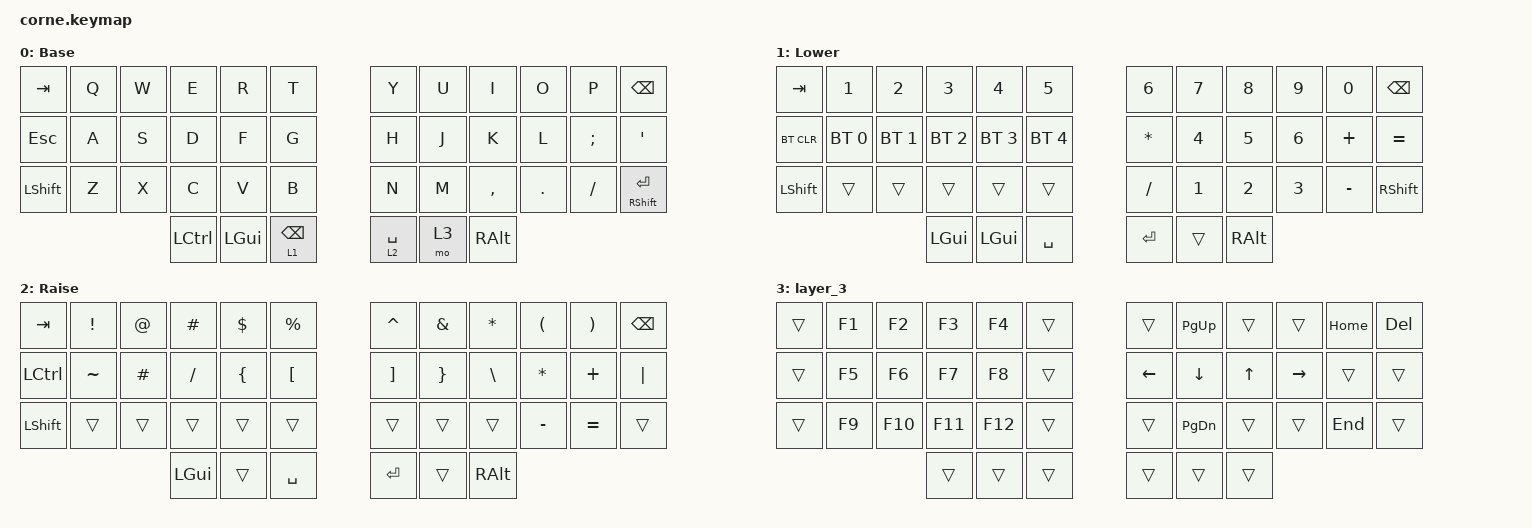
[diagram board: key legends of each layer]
/*
 * Copyright (c) 2020 The ZMK Contributors
 *
 * SPDX-License-Identifier: MIT
 */

#include <behaviors.dtsi>
#include <dt-bindings/zmk/bt.h>
#include <dt-bindings/zmk/keys.h>

/ {
    keymap {
        compatible = "zmk,keymap";

        default_layer {
            // -----------------------------------------------------------------------------------------
            // |  TAB |  Q  |  W  |  E  |  R  |  T  |   |  Y  |  U   |  I  |  O  |  P  | BKSP |
            // | CTRL |  A  |  S  |  D  |  F  |  G  |   |  H  |  J   |  K  |  L  |  ;  |  '   |
            // | SHFT |  Z  |  X  |  C  |  V  |  B  |   |  N  |  M   |  ,  |  .  |  /  | ESC  |
            //                    | GUI | LWR | SPC |   | ENT | RSE  | ALT |

            label = "Base";
            bindings = <
   &kp TAB  &kp Q  &kp W      &kp E         &kp R            &kp T          &kp Y  &kp U      &kp I    &kp O     &kp P                &kp BSPC
&kp ESCAPE  &kp A  &kp S      &kp D         &kp F            &kp G          &kp H  &kp J      &kp K    &kp L  &kp SEMI                 &kp SQT
 &kp LSHFT  &kp Z  &kp X      &kp C         &kp V            &kp B          &kp N  &kp M  &kp COMMA  &kp DOT  &kp FSLH  &mt RIGHT_SHIFT RETURN
                          &kp LCTRL  &kp LEFT_GUI  &lt 1 BACKSPACE    &lt 2 SPACE  &mo 3   &kp RALT
            >;
        };

        lower_layer {
            // -----------------------------------------------------------------------------------------
            // |  TAB |  1  |  2  |  3  |  4  |  5  |   |  6  |  7  |  8  |  9  |  0  | BKSP |
            // | BTCLR| BT1 | BT2 | BT3 | BT4 | BT5 |   | LFT | DWN |  UP | RGT |     |      |
            // | SHFT |     |     |     |     |     |   |     |     |     |     |     |      |
            //                    | GUI |     | SPC |   | ENT |     | ALT |

            label = "Lower";
            bindings = <
   &kp TAB        &kp N1        &kp N2        &kp N3        &kp N4        &kp N5          &kp N6        &kp N7        &kp N8        &kp N9     &kp N0         &kp BSPC
&bt BT_CLR  &bt BT_SEL 0  &bt BT_SEL 1  &bt BT_SEL 2  &bt BT_SEL 3  &bt BT_SEL 4    &kp ASTERISK  &kp NUMBER_4  &kp NUMBER_5  &kp NUMBER_6   &kp PLUS        &kp EQUAL
 &kp LSHFT        &trans        &trans        &trans        &trans        &trans       &kp SLASH  &kp NUMBER_1  &kp NUMBER_2  &kp NUMBER_3  &kp MINUS  &kp RIGHT_SHIFT
                                            &kp LGUI      &kp LGUI     &kp SPACE         &kp RET        &trans      &kp RALT
            >;
        };

        raise_layer {
            // -----------------------------------------------------------------------------------------
            // |  TAB |  !  |  @  |  #  |  $  |  %  |   |  ^  |  &  |  *  |  (  |  )  | BKSP |
            // | CTRL |     |     |     |     |     |   |  -  |  =  |  [  |  ]  |  \  |  `   |
            // | SHFT |     |     |     |     |     |   |  _  |  +  |  {  |  }  | "|" |  ~   |
            //                    | GUI |     | SPC |   | ENT |     | ALT |

            label = "Raise";
            bindings = <
  &kp TAB   &kp EXCL     &kp AT   &kp HASH        &kp DLLR         &kp PRCNT            &kp CARET         &kp AMPS   &kp ASTERISK      &kp LPAR   &kp RPAR  &kp BSPC
&kp LCTRL  &kp TILDE  &kp POUND  &kp SLASH  &kp LEFT_BRACE  &kp LEFT_BRACKET    &kp RIGHT_BRACKET  &kp RIGHT_BRACE  &kp BACKSLASH  &kp ASTERISK   &kp PLUS  &kp PIPE
&kp LSHFT     &trans     &trans     &trans          &trans            &trans               &trans           &trans         &trans     &kp MINUS  &kp EQUAL    &trans
                                  &kp LGUI          &trans         &kp SPACE              &kp RET           &trans       &kp RALT
            >;
        };

        layer_3 {
            bindings = <
&trans  &kp F1   &kp F2   &kp F3   &kp F4  &trans      &trans    &kp PAGE_UP  &trans     &trans  &kp HOME  &kp DEL
&trans  &kp F5   &kp F6   &kp F7   &kp F8  &trans    &kp LEFT       &kp DOWN  &kp UP  &kp RIGHT    &trans   &trans
&trans  &kp F9  &kp F10  &kp F11  &kp F12  &trans      &trans  &kp PAGE_DOWN  &trans     &trans   &kp END   &trans
                          &trans   &trans  &trans      &trans         &trans  &trans
            >;
        };
    };
};

